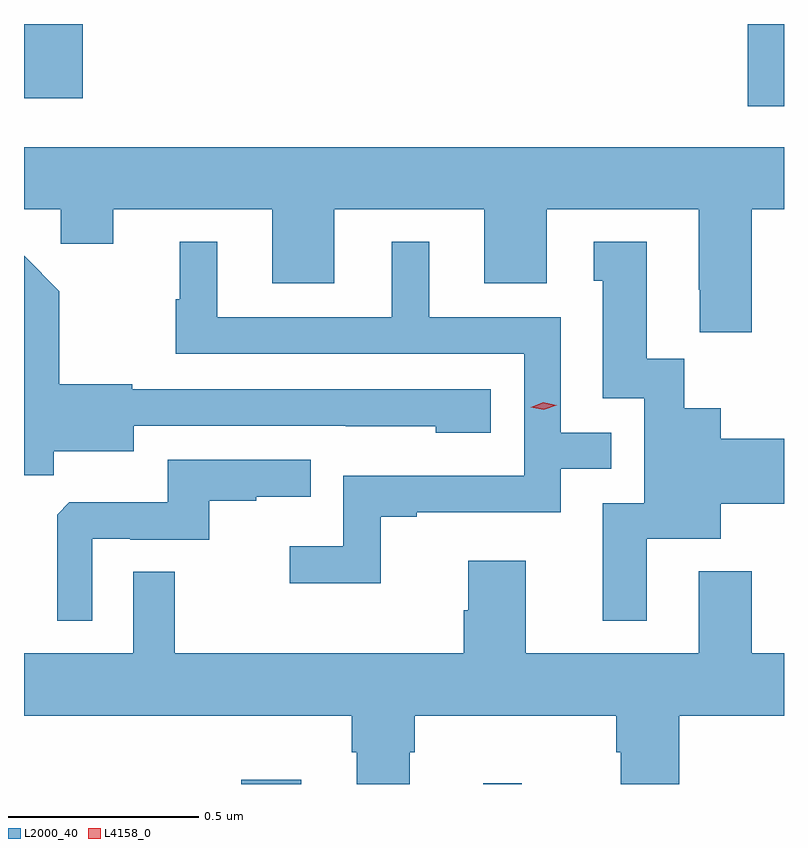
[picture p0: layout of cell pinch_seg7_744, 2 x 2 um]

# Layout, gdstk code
import gdstk
lib = gdstk.Library(unit=1e-6, precision=1e-09)
def R(c, l, rs):  # rectangles x0, y0, x1, y1
    for r in rs: c.add(gdstk.rectangle(r[:2], r[2:], *l))
def P(c, l, *ps):  # polygons
    for p in ps: c.add(gdstk.Polygon(p, *l))
L2000_40 = (2000, 40)
L4158_0 = (4158, 0)

pinch_seg7_744 = lib.new_cell('pinch_seg7_744')
R(pinch_seg7_744, L2000_40, [(336.068,1019.084,336.226,1019.095), (336.704,1019.084,336.806,1019.086), (337.4,1020.867,337.496,1021.084), (335.496,1020.888,335.651,1021.084)])
P(pinch_seg7_744, L2000_40, [(337.411,1020.596),(337.496,1020.596),(337.496,1020.76),(335.496,1020.76),(335.496,1020.596),(335.593,1020.596),(335.593,1020.506),(335.731,1020.506),(335.731,1020.596),(336.149,1020.596),(336.149,1020.402),(336.313,1020.402),(336.313,1020.596),(336.707,1020.596),(336.707,1020.402),(336.871,1020.402),(336.871,1020.596),(337.271,1020.596),(337.271,1020.385),(337.274,1020.385),(337.274,1020.273),(337.411,1020.273)],
  [(336.435,1019.787),(336.529,1019.787),(336.529,1019.799),(336.909,1019.799),(336.909,1019.913),(337.042,1019.913),(337.042,1020.009),(336.909,1020.009),(336.909,1020.312),(336.562,1020.312),(336.562,1020.511),(336.464,1020.511),(336.464,1020.312),(336.004,1020.312),(336.004,1020.511),(335.906,1020.511),(335.906,1020.36),(335.895,1020.36),(335.895,1020.216),(336.813,1020.216),(336.813,1019.895),(336.336,1019.895),(336.336,1019.71),(336.195,1019.71),(336.195,1019.612),(336.435,1019.612)],
  [(337.135,1019.729),(337.33,1019.729),(337.33,1019.821),(337.496,1019.821),(337.496,1019.993),(337.33,1019.993),(337.33,1020.073),(337.233,1020.073),(337.233,1020.203),(337.135,1020.203),(337.135,1020.511),(336.995,1020.511),(336.995,1020.408),(337.019,1020.408),(337.019,1020.099),(337.128,1020.099),(337.128,1019.823),(337.019,1019.823),(337.019,1019.514),(337.135,1019.514)],
  [(335.574,1019.96),(335.785,1019.96),(335.785,1020.027),(336.343,1020.027),(336.343,1020.026),(336.579,1020.026),(336.579,1020.008),(336.724,1020.008),(336.724,1020.123),(335.781,1020.123),(335.781,1020.136),(335.589,1020.136),(335.589,1020.381),(335.496,1020.474),(335.496,1019.896),(335.574,1019.896)],
  [(335.676,1019.73),(335.776,1019.73),(335.776,1019.727),(335.984,1019.727),(335.984,1019.829),(336.107,1019.829),(336.107,1019.84),(336.251,1019.84),(336.251,1019.937),(335.874,1019.937),(335.874,1019.825),(335.615,1019.825),(335.583,1019.793),(335.583,1019.513),(335.676,1019.513)],
  [(336.511,1019.168),(336.524,1019.168),(336.524,1019.264),(337.055,1019.264),(337.055,1019.168),(337.067,1019.168),(337.067,1019.084),(337.22,1019.084),(337.22,1019.264),(337.496,1019.264),(337.496,1019.428),(337.411,1019.428),(337.411,1019.644),(337.271,1019.644),(337.271,1019.428),(336.817,1019.428),(336.817,1019.671),(336.665,1019.671),(336.665,1019.541),(336.653,1019.541),(336.653,1019.428),(335.893,1019.428),(335.893,1019.642),(335.784,1019.642),(335.784,1019.428),(335.496,1019.428),(335.496,1019.264),(336.359,1019.264),(336.359,1019.168),(336.371,1019.168),(336.371,1019.084),(336.511,1019.084)])
P(pinch_seg7_744, L4158_0, [(336.864,1020.069),(336.829,1020.076),(336.828,1020.076),(336.829,1020.076),(336.862,1020.089),(336.898,1020.081),(336.898,1020.081),(336.898,1020.081)])

lib.write_gds('pinch_seg7_744.gds')
